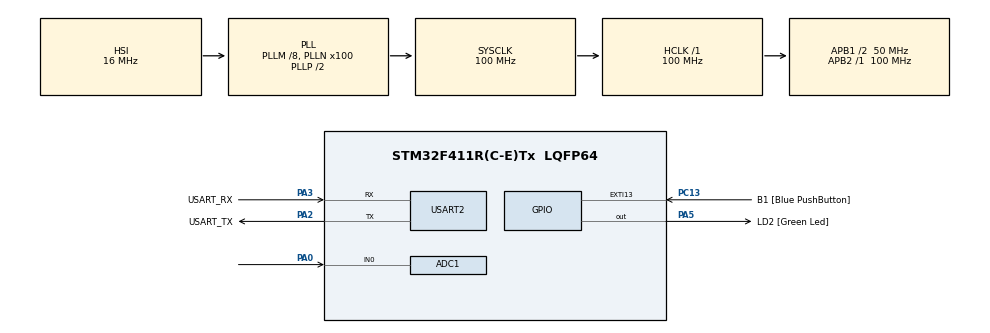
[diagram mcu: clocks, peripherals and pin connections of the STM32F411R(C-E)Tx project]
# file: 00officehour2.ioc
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ADC1.Channel-0\#ChannelRegularConversion=ADC_CHANNEL_0
ADC1.Channel-1\#ChannelRegularConversion=ADC_CHANNEL_TEMPSENSOR
ADC1.ContinuousConvMode=DISABLE
ADC1.DMAContinuousRequests=ENABLE
ADC1.ExternalTrigConv=ADC_EXTERNALTRIGCONV_T3_TRGO
ADC1.NbrOfConversion=2
ADC1.NbrOfConversionFlag=1
ADC1.Rank-0\#ChannelRegularConversion=1
ADC1.Rank-1\#ChannelRegularConversion=2
ADC1.SamplingTime-0\#ChannelRegularConversion=ADC_SAMPLETIME_3CYCLES
ADC1.SamplingTime-1\#ChannelRegularConversion=ADC_SAMPLETIME_3CYCLES
ADC1.ScanConvMode=ENABLE
ADC1.master=1
Dma.ADC1.0.Direction=DMA_PERIPH_TO_MEMORY
Dma.ADC1.0.FIFOMode=DMA_FIFOMODE_DISABLE
Dma.ADC1.0.Instance=DMA2_Stream0
Dma.ADC1.0.MemDataAlignment=DMA_MDATAALIGN_WORD
Dma.ADC1.0.MemInc=DMA_MINC_ENABLE
Dma.ADC1.0.Mode=DMA_CIRCULAR
Dma.ADC1.0.PeriphDataAlignment=DMA_PDATAALIGN_WORD
Dma.ADC1.0.PeriphInc=DMA_PINC_DISABLE
Dma.ADC1.0.Priority=DMA_PRIORITY_LOW
Dma.Request0=ADC1
Mcu.Family=STM32F4
Mcu.Name=STM32F411R(C-E)Tx
Mcu.Package=LQFP64
NVIC.ADC_IRQn=true\:0\:0\:false\:false\:true\:true\:true
NVIC.DMA2_Stream0_IRQn=true\:0\:0\:false\:false\:true\:false\:true
NVIC.PriorityGroup=NVIC_PRIORITYGROUP_0
NVIC.TIM2_IRQn=true\:0\:0\:false\:false\:true\:true\:true
PA0-WKUP.Signal=ADCx_IN0
PA13.GPIO_Label=TMS
PA13.Mode=Serial_Wire
PA13.Signal=SYS_JTMS-SWDIO
PA14.GPIO_Label=TCK
PA14.Mode=Serial_Wire
PA14.Signal=SYS_JTCK-SWCLK
PA2.GPIO_Label=USART_TX
PA2.Mode=Asynchronous
PA2.Signal=USART2_TX
PA3.GPIO_Label=USART_RX
PA3.Mode=Asynchronous
PA3.Signal=USART2_RX
PA5.GPIO_Label=LD2 [Green Led]
PA5.Signal=GPIO_Output
PB3.GPIO_Label=SWO
PB3.Signal=SYS_JTDO-SWO
PC13-ANTI_TAMP.GPIO_Label=B1 [Blue PushButton]
PC13-ANTI_TAMP.GPIO_ModeDefaultEXTI=GPIO_MODE_IT_FALLING
PC13-ANTI_TAMP.Signal=GPXTI13
PC14-OSC32_IN.Mode=LSE-External-Oscillator
PC14-OSC32_IN.Signal=RCC_OSC32_IN
PC15-OSC32_OUT.Mode=LSE-External-Oscillator
PC15-OSC32_OUT.Signal=RCC_OSC32_OUT
PH0\ -\ OSC_IN.Mode=HSE-External-Clock-Source
PH0\ -\ OSC_IN.Signal=RCC_OSC_IN
PH1\ -\ OSC_OUT.Mode=HSE-External-Clock-Source
PH1\ -\ OSC_OUT.Signal=RCC_OSC_OUT
ProjectManager.HeapSize=0x200
ProjectManager.StackSize=0x400
ProjectManager.TargetToolchain=STM32CubeIDE
RCC.48MHZClocksFreq_Value=50000000
RCC.AHBFreq_Value=100000000
RCC.APB1CLKDivider=RCC_HCLK_DIV2
RCC.APB1Freq_Value=50000000
RCC.APB1TimFreq_Value=100000000
RCC.APB2Freq_Value=100000000
RCC.APB2TimFreq_Value=100000000
RCC.CortexFreq_Value=100000000
RCC.FLatency-AdvancedSettings=FLASH_LATENCY_3
RCC.HCLKFreq_Value=100000000
RCC.HSE_VALUE=8000000
RCC.HSI_VALUE=16000000
RCC.PLLM=8
RCC.PLLN=100
RCC.SYSCLKFreq_VALUE=100000000
RCC.SYSCLKSource=RCC_SYSCLKSOURCE_PLLCLK
RCC.VCOOutputFreq_Value=200000000
SH.ADCx_IN0.0=ADC1_IN0,IN0
TIM2.Prescaler=99
TIM3.Period=9999
TIM3.Prescaler=999
TIM3.TIM_MasterOutputTrigger=TIM_TRGO_UPDATE
USART2.VirtualMode=VM_ASYNC
VP_ADC1_TempSens_Input.Mode=IN-TempSens
VP_TIM2_VS_ClockSourceINT.Mode=Internal
VP_TIM3_VS_ClockSourceINT.Mode=Internal
board=NUCLEO-F411RE

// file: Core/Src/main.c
/* USER CODE BEGIN Header */
/**
  ******************************************************************************
  * @file           : main.c
  * @brief          : Main program body
  ******************************************************************************
  * @attention
  *
  * Copyright (c) 2022 STMicroelectronics.
  * All rights reserved.
  *
  * This software is licensed under terms that can be found in the LICENSE file
  * in the root directory of this software component.
  * If no LICENSE file comes with this software, it is provided AS-IS.
  *
  ******************************************************************************
  */
/* USER CODE END Header */
#include "main.h"

/* USER CODE BEGIN PTD */
uint32_t ADCin[2];
uint64_t _micro = 0;
uint32_t time=0;
/* USER CODE END PTD */

ADC_HandleTypeDef hadc1;
DMA_HandleTypeDef hdma_adc1;

TIM_HandleTypeDef htim2;
TIM_HandleTypeDef htim3;

UART_HandleTypeDef huart2;

void SystemClock_Config(void);
static void MX_GPIO_Init(void);
static void MX_USART2_UART_Init(void);
static void MX_DMA_Init(void);
static void MX_ADC1_Init(void);
static void MX_TIM3_Init(void);
static void MX_TIM2_Init(void);
/* USER CODE BEGIN PFP */
uint64_t micos();
/* USER CODE END PFP */

int main(void)
{

  /* MCU Configuration--------------------------------------------------------*/

  /* Reset of all peripherals, Initializes the Flash interface and the Systick. */
  HAL_Init();

  /* Configure the system clock */
  SystemClock_Config();

  /* Initialize all configured peripherals */
  MX_GPIO_Init();
  MX_USART2_UART_Init();
  MX_DMA_Init();
  MX_ADC1_Init();
  MX_TIM3_Init();
  MX_TIM2_Init();
  /* USER CODE BEGIN 2 */
	HAL_TIM_Base_Start_IT(&htim2);
	HAL_TIM_Base_Start(&htim3);
	HAL_ADC_Start_DMA(&hadc1, (uint32_t*) &ADCin, 2);
  /* USER CODE END 2 */

  /* Infinite loop */
  /* USER CODE BEGIN WHILE */
  while (1)
  {
		static uint64_t timestamp = 0;
		time = micos();
		if (time - timestamp > 100)
		{
			timestamp = micos();
		}
    /* USER CODE END WHILE */

  }
}

void SystemClock_Config(void)
{
  RCC_OscInitTypeDef RCC_OscInitStruct = {0};
  RCC_ClkInitTypeDef RCC_ClkInitStruct = {0};

  /** Configure the main internal regulator output voltage
  */
  __HAL_RCC_PWR_CLK_ENABLE();
  __HAL_PWR_VOLTAGESCALING_CONFIG(PWR_REGULATOR_VOLTAGE_SCALE1);
  /** Initializes the RCC Oscillators according to the specified parameters
  * in the RCC_OscInitTypeDef structure.
  */
  RCC_OscInitStruct.OscillatorType = RCC_OSCILLATORTYPE_HSI;
  RCC_OscInitStruct.HSIState = RCC_HSI_ON;
  RCC_OscInitStruct.HSICalibrationValue = RCC_HSICALIBRATION_DEFAULT;
  RCC_OscInitStruct.PLL.PLLState = RCC_PLL_ON;
  RCC_OscInitStruct.PLL.PLLSource = RCC_PLLSOURCE_HSI;
  RCC_OscInitStruct.PLL.PLLM = 8;
  RCC_OscInitStruct.PLL.PLLN = 100;
  RCC_OscInitStruct.PLL.PLLP = RCC_PLLP_DIV2;
  RCC_OscInitStruct.PLL.PLLQ = 4;
  if (HAL_RCC_OscConfig(&RCC_OscInitStruct) != HAL_OK)
  {
    Error_Handler();
  }
  /** Initializes the CPU, AHB and APB buses clocks
  */
  RCC_ClkInitStruct.ClockType = RCC_CLOCKTYPE_HCLK|RCC_CLOCKTYPE_SYSCLK
                              |RCC_CLOCKTYPE_PCLK1|RCC_CLOCKTYPE_PCLK2;
  RCC_ClkInitStruct.SYSCLKSource = RCC_SYSCLKSOURCE_PLLCLK;
  RCC_ClkInitStruct.AHBCLKDivider = RCC_SYSCLK_DIV1;
  RCC_ClkInitStruct.APB1CLKDivider = RCC_HCLK_DIV2;
  RCC_ClkInitStruct.APB2CLKDivider = RCC_HCLK_DIV1;

  if (HAL_RCC_ClockConfig(&RCC_ClkInitStruct, FLASH_LATENCY_3) != HAL_OK)
  {
    Error_Handler();
  }
}

static void MX_ADC1_Init(void)
{

  ADC_ChannelConfTypeDef sConfig = {0};

  /** Configure the global features of the ADC (Clock, Resolution, Data Alignment and number of conversion)
  */
  hadc1.Instance = ADC1;
  hadc1.Init.ClockPrescaler = ADC_CLOCK_SYNC_PCLK_DIV4;
  hadc1.Init.Resolution = ADC_RESOLUTION_12B;
  hadc1.Init.ScanConvMode = ENABLE;
  hadc1.Init.ContinuousConvMode = DISABLE;
  hadc1.Init.DiscontinuousConvMode = DISABLE;
  hadc1.Init.ExternalTrigConvEdge = ADC_EXTERNALTRIGCONVEDGE_RISING;
  hadc1.Init.ExternalTrigConv = ADC_EXTERNALTRIGCONV_T3_TRGO;
  hadc1.Init.DataAlign = ADC_DATAALIGN_RIGHT;
  hadc1.Init.NbrOfConversion = 2;
  hadc1.Init.DMAContinuousRequests = ENABLE;
  hadc1.Init.EOCSelection = ADC_EOC_SINGLE_CONV;
  if (HAL_ADC_Init(&hadc1) != HAL_OK)
  {
    Error_Handler();
  }
  /** Configure for the selected ADC regular channel its corresponding rank in the sequencer and its sample time.
  */
  sConfig.Channel = ADC_CHANNEL_0;
  sConfig.Rank = 1;
  sConfig.SamplingTime = ADC_SAMPLETIME_3CYCLES;
  if (HAL_ADC_ConfigChannel(&hadc1, &sConfig) != HAL_OK)
  {
    Error_Handler();
  }
  /** Configure for the selected ADC regular channel its corresponding rank in the sequencer and its sample time.
  */
  sConfig.Channel = ADC_CHANNEL_TEMPSENSOR;
  sConfig.Rank = 2;
  if (HAL_ADC_ConfigChannel(&hadc1, &sConfig) != HAL_OK)
  {
    Error_Handler();
  }

}

static void MX_TIM2_Init(void)
{

  TIM_ClockConfigTypeDef sClockSourceConfig = {0};
  TIM_MasterConfigTypeDef sMasterConfig = {0};

  htim2.Instance = TIM2;
  htim2.Init.Prescaler = 99;
  htim2.Init.CounterMode = TIM_COUNTERMODE_UP;
  htim2.Init.Period = 4294967295;
  htim2.Init.ClockDivision = TIM_CLOCKDIVISION_DIV1;
  htim2.Init.AutoReloadPreload = TIM_AUTORELOAD_PRELOAD_DISABLE;
  if (HAL_TIM_Base_Init(&htim2) != HAL_OK)
  {
    Error_Handler();
  }
  sClockSourceConfig.ClockSource = TIM_CLOCKSOURCE_INTERNAL;
  if (HAL_TIM_ConfigClockSource(&htim2, &sClockSourceConfig) != HAL_OK)
  {
    Error_Handler();
  }
  sMasterConfig.MasterOutputTrigger = TIM_TRGO_RESET;
  sMasterConfig.MasterSlaveMode = TIM_MASTERSLAVEMODE_DISABLE;
  if (HAL_TIMEx_MasterConfigSynchronization(&htim2, &sMasterConfig) != HAL_OK)
  {
    Error_Handler();
  }

}

static void MX_TIM3_Init(void)
{

  TIM_ClockConfigTypeDef sClockSourceConfig = {0};
  TIM_MasterConfigTypeDef sMasterConfig = {0};

  htim3.Instance = TIM3;
  htim3.Init.Prescaler = 999;
  htim3.Init.CounterMode = TIM_COUNTERMODE_UP;
  htim3.Init.Period = 9999;
  htim3.Init.ClockDivision = TIM_CLOCKDIVISION_DIV1;
  htim3.Init.AutoReloadPreload = TIM_AUTORELOAD_PRELOAD_DISABLE;
  if (HAL_TIM_Base_Init(&htim3) != HAL_OK)
  {
    Error_Handler();
  }
  sClockSourceConfig.ClockSource = TIM_CLOCKSOURCE_INTERNAL;
  if (HAL_TIM_ConfigClockSource(&htim3, &sClockSourceConfig) != HAL_OK)
  {
    Error_Handler();
  }
  sMasterConfig.MasterOutputTrigger = TIM_TRGO_UPDATE;
  sMasterConfig.MasterSlaveMode = TIM_MASTERSLAVEMODE_DISABLE;
  if (HAL_TIMEx_MasterConfigSynchronization(&htim3, &sMasterConfig) != HAL_OK)
  {
    Error_Handler();
  }

}

static void MX_USART2_UART_Init(void)
{

  huart2.Instance = USART2;
  huart2.Init.BaudRate = 115200;
  huart2.Init.WordLength = UART_WORDLENGTH_8B;
  huart2.Init.StopBits = UART_STOPBITS_1;
  huart2.Init.Parity = UART_PARITY_NONE;
  huart2.Init.Mode = UART_MODE_TX_RX;
  huart2.Init.HwFlowCtl = UART_HWCONTROL_NONE;
  huart2.Init.OverSampling = UART_OVERSAMPLING_16;
  if (HAL_UART_Init(&huart2) != HAL_OK)
  {
    Error_Handler();
  }

}

static void MX_DMA_Init(void)
{

  /* DMA controller clock enable */
  __HAL_RCC_DMA2_CLK_ENABLE();

  /* DMA interrupt init */
  /* DMA2_Stream0_IRQn interrupt configuration */
  HAL_NVIC_SetPriority(DMA2_Stream0_IRQn, 0, 0);
  HAL_NVIC_EnableIRQ(DMA2_Stream0_IRQn);

}

static void MX_GPIO_Init(void)
{
  GPIO_InitTypeDef GPIO_InitStruct = {0};

  /* GPIO Ports Clock Enable */
  __HAL_RCC_GPIOC_CLK_ENABLE();
  __HAL_RCC_GPIOH_CLK_ENABLE();
  __HAL_RCC_GPIOA_CLK_ENABLE();
  __HAL_RCC_GPIOB_CLK_ENABLE();

  /*Configure GPIO pin Output Level */
  HAL_GPIO_WritePin(LD2_GPIO_Port, LD2_Pin, GPIO_PIN_RESET);

  /*Configure GPIO pin : B1_Pin */
  GPIO_InitStruct.Pin = B1_Pin;
  GPIO_InitStruct.Mode = GPIO_MODE_IT_FALLING;
  GPIO_InitStruct.Pull = GPIO_NOPULL;
  HAL_GPIO_Init(B1_GPIO_Port, &GPIO_InitStruct);

  /*Configure GPIO pin : LD2_Pin */
  GPIO_InitStruct.Pin = LD2_Pin;
  GPIO_InitStruct.Mode = GPIO_MODE_OUTPUT_PP;
  GPIO_InitStruct.Pull = GPIO_NOPULL;
  GPIO_InitStruct.Speed = GPIO_SPEED_FREQ_LOW;
  HAL_GPIO_Init(LD2_GPIO_Port, &GPIO_InitStruct);

}

/* USER CODE BEGIN 4 */
void HAL_TIM_PeriodElapsedCallback(TIM_HandleTypeDef *htim)
{
	if (htim == &htim2)
	{
		_micro += 65535;
	}
}

uint64_t micos()
{
	return htim2.Instance->CNT + _micro;
}
/* USER CODE END 4 */

void Error_Handler(void)
{
  __disable_irq();
  while (1)
  {
  }
}
